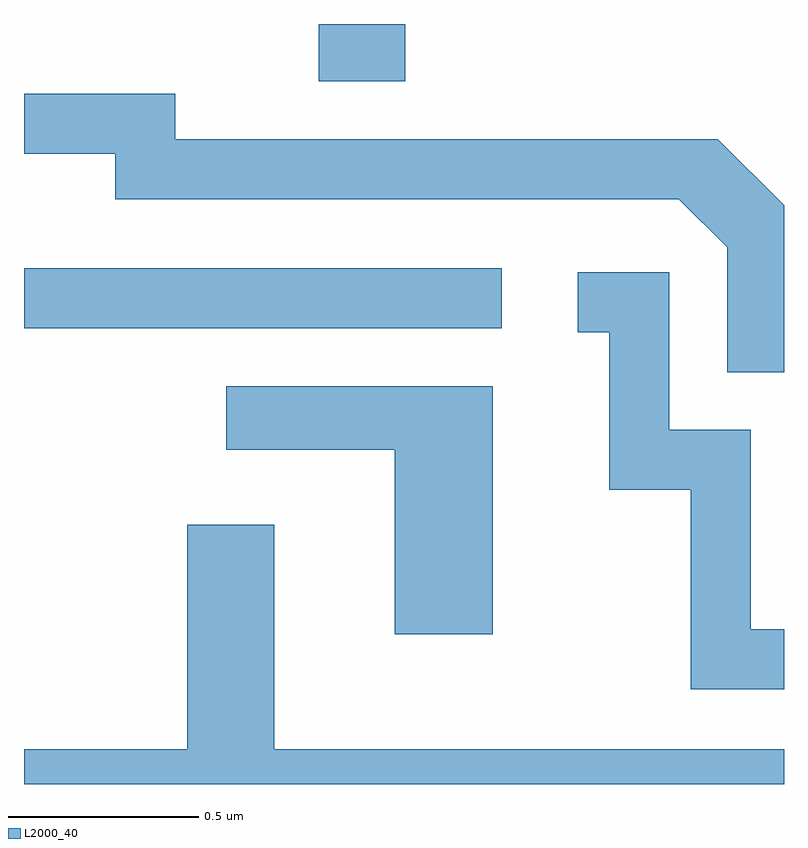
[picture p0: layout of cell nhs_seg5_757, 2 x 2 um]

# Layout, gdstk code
import gdstk
lib = gdstk.Library(unit=1e-6, precision=1e-09)
def R(c, l, rs):  # rectangles x0, y0, x1, y1
    for r in rs: c.add(gdstk.rectangle(r[:2], r[2:], *l))
def P(c, l, *ps):  # polygons
    for p in ps: c.add(gdstk.Polygon(p, *l))
L2000_40 = (2000, 40)

nhs_seg5_757 = lib.new_cell('nhs_seg5_757')
R(nhs_seg5_757, L2000_40, [(190.611,1469.271,191.868,1469.429), (191.386,1469.921,191.614,1470.072)])
P(nhs_seg5_757, L2000_40, [(192.611,1469.595),(192.437,1469.769),(191.009,1469.769),(191.009,1469.889),(190.611,1469.889),(190.611,1469.731),(190.851,1469.731),(190.851,1469.611),(192.334,1469.611),(192.461,1469.484),(192.461,1469.156),(192.611,1469.156)],
  [(192.611,1468.479),(192.524,1468.479),(192.524,1469.004),(192.309,1469.004),(192.309,1469.419),(192.068,1469.419),(192.068,1469.261),(192.151,1469.261),(192.151,1468.846),(192.366,1468.846),(192.366,1468.321),(192.611,1468.321)],
  [(191.844,1469.119),(191.143,1469.119),(191.143,1468.951),(191.586,1468.951),(191.586,1468.466),(191.844,1468.466)],
  [(192.611,1468.164),(191.269,1468.164),(191.269,1468.754),(191.041,1468.754),(191.041,1468.164),(190.611,1468.164),(190.611,1468.072),(192.611,1468.072)])

lib.write_gds('nhs_seg5_757.gds')
